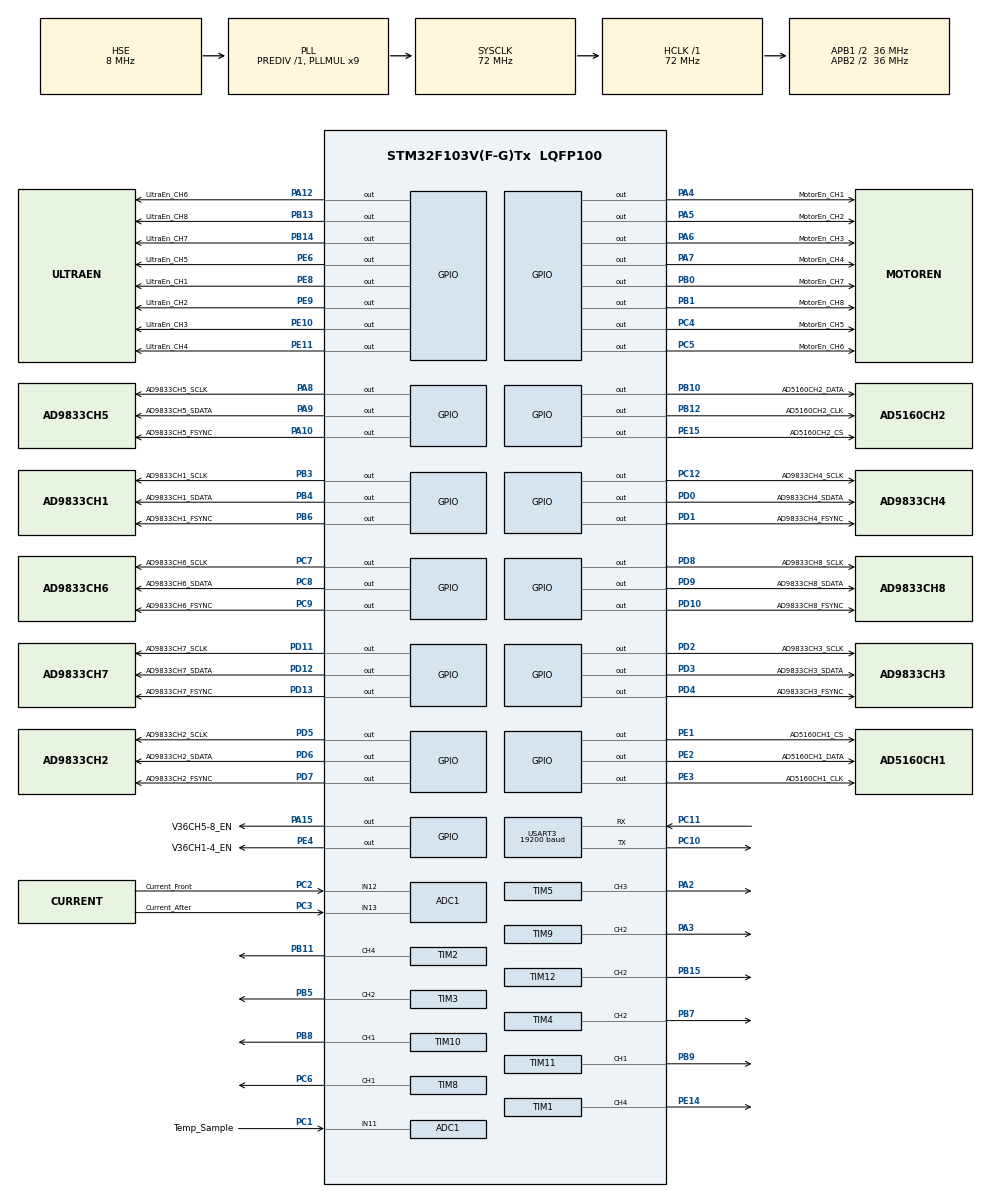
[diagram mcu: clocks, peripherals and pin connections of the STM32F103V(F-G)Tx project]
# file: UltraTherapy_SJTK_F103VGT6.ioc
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ADC1.Channel-0\#ChannelRegularConversion=ADC_CHANNEL_11
ADC1.Channel-1\#ChannelRegularConversion=ADC_CHANNEL_12
ADC1.Channel-2\#ChannelRegularConversion=ADC_CHANNEL_13
ADC1.Channel-3\#ChannelRegularConversion=ADC_CHANNEL_TEMPSENSOR
ADC1.Channel-4\#ChannelRegularConversion=ADC_CHANNEL_VREFINT
ADC1.ContinuousConvMode=ENABLE
ADC1.EnableInjectedConversion=DISABLE
ADC1.NbrOfConversion=5
ADC1.NbrOfConversionFlag=1
ADC1.Rank-0\#ChannelRegularConversion=1
ADC1.Rank-1\#ChannelRegularConversion=2
ADC1.Rank-2\#ChannelRegularConversion=3
ADC1.Rank-3\#ChannelRegularConversion=4
ADC1.Rank-4\#ChannelRegularConversion=5
ADC1.SamplingTime-0\#ChannelRegularConversion=ADC_SAMPLETIME_239CYCLES_5
ADC1.SamplingTime-1\#ChannelRegularConversion=ADC_SAMPLETIME_239CYCLES_5
ADC1.SamplingTime-2\#ChannelRegularConversion=ADC_SAMPLETIME_239CYCLES_5
ADC1.SamplingTime-3\#ChannelRegularConversion=ADC_SAMPLETIME_71CYCLES_5
ADC1.SamplingTime-4\#ChannelRegularConversion=ADC_SAMPLETIME_239CYCLES_5
ADC1.master=1
Dma.ADC1.2.Direction=DMA_PERIPH_TO_MEMORY
Dma.ADC1.2.Instance=DMA1_Channel1
Dma.ADC1.2.MemDataAlignment=DMA_MDATAALIGN_HALFWORD
Dma.ADC1.2.MemInc=DMA_MINC_ENABLE
Dma.ADC1.2.Mode=DMA_CIRCULAR
Dma.ADC1.2.PeriphDataAlignment=DMA_PDATAALIGN_HALFWORD
Dma.ADC1.2.PeriphInc=DMA_PINC_DISABLE
Dma.ADC1.2.Priority=DMA_PRIORITY_HIGH
Dma.Request0=USART3_RX
Dma.Request1=USART3_TX
Dma.Request2=ADC1
Dma.USART3_RX.0.Direction=DMA_PERIPH_TO_MEMORY
Dma.USART3_RX.0.Instance=DMA1_Channel3
Dma.USART3_RX.0.MemDataAlignment=DMA_MDATAALIGN_BYTE
Dma.USART3_RX.0.MemInc=DMA_MINC_ENABLE
Dma.USART3_RX.0.Mode=DMA_NORMAL
Dma.USART3_RX.0.PeriphDataAlignment=DMA_PDATAALIGN_BYTE
Dma.USART3_RX.0.PeriphInc=DMA_PINC_DISABLE
Dma.USART3_RX.0.Priority=DMA_PRIORITY_LOW
Dma.USART3_TX.1.Direction=DMA_MEMORY_TO_PERIPH
Dma.USART3_TX.1.Instance=DMA1_Channel2
Dma.USART3_TX.1.MemDataAlignment=DMA_MDATAALIGN_BYTE
Dma.USART3_TX.1.MemInc=DMA_MINC_ENABLE
Dma.USART3_TX.1.Mode=DMA_NORMAL
Dma.USART3_TX.1.PeriphDataAlignment=DMA_PDATAALIGN_BYTE
Dma.USART3_TX.1.PeriphInc=DMA_PINC_DISABLE
Dma.USART3_TX.1.Priority=DMA_PRIORITY_LOW
Mcu.Family=STM32F1
Mcu.Name=STM32F103V(F-G)Tx
Mcu.Package=LQFP100
NVIC.DMA1_Channel1_IRQn=true\:0\:0\:false\:false\:true\:false\:true\:true
NVIC.DMA1_Channel2_IRQn=true\:0\:0\:false\:false\:true\:false\:true\:true
NVIC.DMA1_Channel3_IRQn=true\:0\:0\:false\:false\:true\:false\:true\:true
NVIC.PriorityGroup=NVIC_PRIORITYGROUP_4
NVIC.TIM6_IRQn=true\:0\:0\:false\:false\:true\:true\:true\:true
NVIC.USART3_IRQn=true\:0\:0\:false\:false\:true\:true\:true\:true
OSC_IN.Mode=HSE-External-Oscillator
OSC_IN.Signal=RCC_OSC_IN
OSC_OUT.Mode=HSE-External-Oscillator
OSC_OUT.Signal=RCC_OSC_OUT
PA10.GPIO_Label=AD9833CH5_FSYNC
PA10.GPIO_Speed=GPIO_SPEED_FREQ_HIGH
PA10.Signal=GPIO_Output
PA12.GPIO_Label=UltraEn_CH6
PA12.Signal=GPIO_Output
PA13.Mode=Serial_Wire
PA13.Signal=SYS_JTMS-SWDIO
PA14.Mode=Serial_Wire
PA14.Signal=SYS_JTCK-SWCLK
PA15.GPIO_Label=V36CH5-8_EN
PA15.Signal=GPIO_Output
PA2.Signal=S_TIM5_CH3
PA3.Signal=S_TIM9_CH2
PA4.GPIO_Label=MotorEn_CH1
PA4.Signal=GPIO_Output
PA5.GPIO_Label=MotorEn_CH2
PA5.Signal=GPIO_Output
PA6.GPIO_Label=MotorEn_CH3
PA6.Signal=GPIO_Output
PA7.GPIO_Label=MotorEn_CH4
PA7.Signal=GPIO_Output
PA8.GPIO_Label=AD9833CH5_SCLK
PA8.GPIO_Speed=GPIO_SPEED_FREQ_HIGH
PA8.Signal=GPIO_Output
PA9.GPIO_Label=AD9833CH5_SDATA
PA9.GPIO_Speed=GPIO_SPEED_FREQ_HIGH
PA9.Signal=GPIO_Output
PB0.GPIO_Label=MotorEn_CH7
PB0.Signal=GPIO_Output
PB1.GPIO_Label=MotorEn_CH8
PB1.Signal=GPIO_Output
PB10.GPIO_Label=AD5160CH2_DATA
PB10.GPIO_ModeDefaultOutputPP=GPIO_MODE_OUTPUT_OD
PB10.GPIO_PuPd=GPIO_NOPULL
PB10.GPIO_Speed=GPIO_SPEED_FREQ_HIGH
PB10.Signal=GPIO_Output
PB11.Signal=S_TIM2_CH4
PB12.GPIO_Label=AD5160CH2_CLK
PB12.GPIO_ModeDefaultOutputPP=GPIO_MODE_OUTPUT_OD
PB12.GPIO_PuPd=GPIO_NOPULL
PB12.GPIO_Speed=GPIO_SPEED_FREQ_HIGH
PB12.Signal=GPIO_Output
PB13.GPIO_Label=UltraEn_CH8
PB13.Signal=GPIO_Output
PB14.GPIO_Label=UltraEn_CH7
PB14.Signal=GPIO_Output
PB15.Signal=S_TIM12_CH2
PB3.GPIO_Label=AD9833CH1_SCLK
PB3.GPIO_Speed=GPIO_SPEED_FREQ_HIGH
PB3.Signal=GPIO_Output
PB4.GPIO_Label=AD9833CH1_SDATA
PB4.GPIO_Speed=GPIO_SPEED_FREQ_HIGH
PB4.Signal=GPIO_Output
PB5.Signal=S_TIM3_CH2
PB6.GPIO_Label=AD9833CH1_FSYNC
PB6.GPIO_Speed=GPIO_SPEED_FREQ_HIGH
PB6.Signal=GPIO_Output
PB7.Signal=S_TIM4_CH2
PB8.Signal=S_TIM10_CH1
PB9.Signal=S_TIM11_CH1
PC1.GPIO_Label=Temp_Sample
PC1.Signal=ADCx_IN11
PC10.Mode=Asynchronous
PC10.Signal=USART3_TX
PC11.Mode=Asynchronous
PC11.Signal=USART3_RX
PC12.GPIO_Label=AD9833CH4_SCLK
PC12.GPIO_Speed=GPIO_SPEED_FREQ_HIGH
PC12.Signal=GPIO_Output
PC2.GPIO_Label=Current_Front
PC2.Signal=ADCx_IN12
PC3.GPIO_Label=Current_After
PC3.Signal=ADCx_IN13
PC4.GPIO_Label=MotorEn_CH5
PC4.Signal=GPIO_Output
PC5.GPIO_Label=MotorEn_CH6
PC5.Signal=GPIO_Output
PC6.Signal=S_TIM8_CH1
PC7.GPIO_Label=AD9833CH6_SCLK
PC7.GPIO_Speed=GPIO_SPEED_FREQ_HIGH
PC7.Signal=GPIO_Output
PC8.GPIO_Label=AD9833CH6_SDATA
PC8.GPIO_Speed=GPIO_SPEED_FREQ_HIGH
PC8.Signal=GPIO_Output
PC9.GPIO_Label=AD9833CH6_FSYNC
PC9.GPIO_Speed=GPIO_SPEED_FREQ_HIGH
PC9.Signal=GPIO_Output
PD0.GPIO_Label=AD9833CH4_SDATA
PD0.GPIO_Speed=GPIO_SPEED_FREQ_HIGH
PD0.Signal=GPIO_Output
PD1.GPIO_Label=AD9833CH4_FSYNC
PD1.GPIO_Speed=GPIO_SPEED_FREQ_HIGH
PD1.Signal=GPIO_Output
PD10.GPIO_Label=AD9833CH8_FSYNC
PD10.GPIO_Speed=GPIO_SPEED_FREQ_HIGH
PD10.Signal=GPIO_Output
PD11.GPIO_Label=AD9833CH7_SCLK
PD11.GPIO_Speed=GPIO_SPEED_FREQ_HIGH
PD11.Signal=GPIO_Output
PD12.GPIO_Label=AD9833CH7_SDATA
PD12.GPIO_Speed=GPIO_SPEED_FREQ_HIGH
PD12.Signal=GPIO_Output
PD13.GPIO_Label=AD9833CH7_FSYNC
PD13.GPIO_Speed=GPIO_SPEED_FREQ_HIGH
PD13.Signal=GPIO_Output
PD2.GPIO_Label=AD9833CH3_SCLK
PD2.GPIO_Speed=GPIO_SPEED_FREQ_HIGH
PD2.Signal=GPIO_Output
PD3.GPIO_Label=AD9833CH3_SDATA
PD3.GPIO_Speed=GPIO_SPEED_FREQ_HIGH
PD3.Signal=GPIO_Output
PD4.GPIO_Label=AD9833CH3_FSYNC
PD4.GPIO_Speed=GPIO_SPEED_FREQ_HIGH
PD4.Signal=GPIO_Output
PD5.GPIO_Label=AD9833CH2_SCLK
PD5.GPIO_Speed=GPIO_SPEED_FREQ_HIGH
PD5.Signal=GPIO_Output
PD6.GPIO_Label=AD9833CH2_SDATA
PD6.GPIO_Speed=GPIO_SPEED_FREQ_HIGH
PD6.Signal=GPIO_Output
PD7.GPIO_Label=AD9833CH2_FSYNC
PD7.GPIO_Speed=GPIO_SPEED_FREQ_HIGH
PD7.Signal=GPIO_Output
PD8.GPIO_Label=AD9833CH8_SCLK
PD8.GPIO_Speed=GPIO_SPEED_FREQ_HIGH
PD8.Signal=GPIO_Output
PD9.GPIO_Label=AD9833CH8_SDATA
PD9.GPIO_Speed=GPIO_SPEED_FREQ_HIGH
PD9.Signal=GPIO_Output
PE1.GPIO_Label=AD5160CH1_CS
PE1.GPIO_Speed=GPIO_SPEED_FREQ_HIGH
PE1.Signal=GPIO_Output
PE10.GPIO_Label=UltraEn_CH3
PE10.Signal=GPIO_Output
PE11.GPIO_Label=UltraEn_CH4
PE11.Signal=GPIO_Output
PE14.Signal=S_TIM1_CH4
PE15.GPIO_Label=AD5160CH2_CS
PE15.GPIO_ModeDefaultOutputPP=GPIO_MODE_OUTPUT_PP
PE15.GPIO_PuPd=GPIO_NOPULL
PE15.GPIO_Speed=GPIO_SPEED_FREQ_HIGH
PE15.Signal=GPIO_Output
PE2.GPIO_Label=AD5160CH1_DATA
PE2.GPIO_ModeDefaultOutputPP=GPIO_MODE_OUTPUT_OD
PE2.GPIO_PuPd=GPIO_NOPULL
PE2.GPIO_Speed=GPIO_SPEED_FREQ_HIGH
PE2.Signal=GPIO_Output
PE3.GPIO_Label=AD5160CH1_CLK
PE3.GPIO_ModeDefaultOutputPP=GPIO_MODE_OUTPUT_OD
PE3.GPIO_PuPd=GPIO_NOPULL
PE3.GPIO_Speed=GPIO_SPEED_FREQ_HIGH
PE3.Signal=GPIO_Output
PE4.GPIO_Label=V36CH1-4_EN
PE4.Signal=GPIO_Output
PE6.GPIO_Label=UltraEn_CH5
PE6.Signal=GPIO_Output
PE8.GPIO_Label=UltraEn_CH1
PE8.Signal=GPIO_Output
PE9.GPIO_Label=UltraEn_CH2
PE9.Signal=GPIO_Output
ProjectManager.HeapSize=0x200
ProjectManager.StackSize=0x400
ProjectManager.TargetToolchain=STM32CubeIDE
RCC.ADCPresc=RCC_ADCPCLK2_DIV4
RCC.AHBFreq_Value=72000000
RCC.APB1CLKDivider=RCC_HCLK_DIV2
RCC.APB1Freq_Value=36000000
RCC.APB1TimFreq_Value=72000000
RCC.APB2CLKDivider=RCC_HCLK_DIV2
RCC.APB2Freq_Value=36000000
RCC.APB2TimFreq_Value=72000000
RCC.HCLKFreq_Value=72000000
RCC.PLLMUL=RCC_PLL_MUL9
RCC.PLLSourceVirtual=RCC_PLLSOURCE_HSE
RCC.SYSCLKFreq_VALUE=72000000
RCC.SYSCLKSource=RCC_SYSCLKSOURCE_PLLCLK
RCC.USBFreq_Value=72000000
SH.ADCx_IN11.0=ADC1_IN11,IN11
SH.ADCx_IN12.0=ADC1_IN12,IN12
SH.ADCx_IN13.0=ADC1_IN13,IN13
SH.S_TIM10_CH1.0=TIM10_CH1,PWM Generation1 CH1
SH.S_TIM11_CH1.0=TIM11_CH1,PWM Generation1 CH1
SH.S_TIM12_CH2.0=TIM12_CH2,PWM Generation2 CH2
SH.S_TIM1_CH4.0=TIM1_CH4,PWM Generation4 CH4
SH.S_TIM2_CH4.0=TIM2_CH4,PWM Generation4 CH4
SH.S_TIM3_CH2.0=TIM3_CH2,PWM Generation2 CH2
SH.S_TIM4_CH2.0=TIM4_CH2,PWM Generation2 CH2
SH.S_TIM5_CH3.0=TIM5_CH3,PWM Generation3 CH3
SH.S_TIM8_CH1.0=TIM8_CH1,PWM Generation1 CH1
SH.S_TIM9_CH2.0=TIM9_CH2,PWM Generation2 CH2
TIM1.Channel-PWM\ Generation4\ CH4=TIM_CHANNEL_4
TIM1.Period=10000
TIM1.Prescaler=72-1
TIM10.Channel=TIM_CHANNEL_1
TIM10.Period=10000
TIM10.Prescaler=72-1
TIM11.Channel=TIM_CHANNEL_1
TIM11.Period=10000
TIM11.Prescaler=72-1
TIM12.Channel-PWM\ Generation2\ CH2=TIM_CHANNEL_2
TIM12.Period=10000
TIM12.Prescaler=72-1
TIM2.Channel-PWM\ Generation4\ CH4=TIM_CHANNEL_4
TIM2.Period=10000
TIM2.Prescaler=72-1
TIM3.Channel-PWM\ Generation2\ CH2=TIM_CHANNEL_2
TIM3.Period=10000
TIM3.Prescaler=72-1
TIM4.Channel-PWM\ Generation2\ CH2=TIM_CHANNEL_2
TIM4.Period=10000
TIM4.Prescaler=72-1
TIM5.Channel-PWM\ Generation3\ CH3=TIM_CHANNEL_3
TIM5.Period=10000
TIM5.Prescaler=72-1
TIM6.Period=100-1
TIM6.Prescaler=72-1
TIM8.Channel-PWM\ Generation1\ CH1=TIM_CHANNEL_1
TIM8.Period=10000
TIM8.Prescaler=72-1
TIM9.Channel-PWM\ Generation2\ CH2=TIM_CHANNEL_2
TIM9.Period=4255
TIM9.Prescaler=72-1
USART3.BaudRate=19200
USART3.VirtualMode=VM_ASYNC
VP_ADC1_TempSens_Input.Mode=IN-TempSens
VP_ADC1_Vref_Input.Mode=IN-Vrefint
VP_TIM10_VS_ClockSourceINT.Mode=Enable_Timer
VP_TIM11_VS_ClockSourceINT.Mode=Enable_Timer
VP_TIM12_VS_ClockSourceINT.Mode=Internal
VP_TIM1_VS_ClockSourceINT.Mode=Internal
VP_TIM2_VS_ClockSourceINT.Mode=Internal
VP_TIM3_VS_ClockSourceINT.Mode=Internal
VP_TIM4_VS_ClockSourceINT.Mode=Internal
VP_TIM5_VS_ClockSourceINT.Mode=Internal
VP_TIM6_VS_ClockSourceINT.Mode=Enable_Timer
VP_TIM8_VS_ClockSourceINT.Mode=Internal
VP_TIM9_VS_ClockSourceINT.Mode=Internal
board=custom

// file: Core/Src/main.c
/* USER CODE BEGIN Header */
/**
  ******************************************************************************
  * @file           : main.c
  * @brief          : Main program body
  ******************************************************************************
  * @attention
  *
  * Copyright (c) 2025 STMicroelectronics.
  * All rights reserved.
  *
  * This software is licensed under terms that can be found in the LICENSE file
  * in the root directory of this software component.
  * If no LICENSE file comes with this software, it is provided AS-IS.
  *
  ******************************************************************************
  */
/* USER CODE END Header */
#include "main.h"
#include "adc.h"
#include "dma.h"
#include "tim.h"
#include "usart.h"
#include "gpio.h"

/* USER CODE BEGIN Includes */
#include "App.h"
/* USER CODE END Includes */

/* USER CODE BEGIN PV */
uint32_t TaskCount = 0;
/* USER CODE END PV */

void SystemClock_Config(void);

int main(void)
{

  /* MCU Configuration--------------------------------------------------------*/

  /* Reset of all peripherals, Initializes the Flash interface and the Systick. */
  HAL_Init();

  /* Configure the system clock */
  SystemClock_Config();

  /* Initialize all configured peripherals */
  MX_GPIO_Init();
  MX_DMA_Init();
  MX_ADC1_Init();
  MX_USART3_UART_Init();
  MX_TIM1_Init();
  MX_TIM2_Init();
  MX_TIM3_Init();
  MX_TIM4_Init();
  MX_TIM8_Init();
  MX_TIM9_Init();
  MX_TIM10_Init();
  MX_TIM11_Init();
  MX_TIM12_Init();
  MX_TIM5_Init();
  MX_TIM6_Init();
  /* USER CODE BEGIN 2 */
  DevSystem_Init();
  HAL_TIM_Base_Start_IT(&htim6);
  HAL_Delay(10);
  /* USER CODE END 2 */

  /* Infinite loop */
  while (1)
  {

    /* USER CODE BEGIN 3 */
	  if(TaskCount > 100)
	  {
		  DevAD5160Func_Main();
		  DevAD9833Set_Main();
		  DevADC1Func_Main();
		  DevFlashWrite_Main();
		  DevPwmFunc_Main();
	  }
	  AppMainFunc();
  }
  /* USER CODE END 3 */
}

void SystemClock_Config(void)
{
  RCC_OscInitTypeDef RCC_OscInitStruct = {0};
  RCC_ClkInitTypeDef RCC_ClkInitStruct = {0};
  RCC_PeriphCLKInitTypeDef PeriphClkInit = {0};

  /** Initializes the RCC Oscillators according to the specified parameters
  * in the RCC_OscInitTypeDef structure.
  */
  RCC_OscInitStruct.OscillatorType = RCC_OSCILLATORTYPE_HSE;
  RCC_OscInitStruct.HSEState = RCC_HSE_ON;
  RCC_OscInitStruct.HSEPredivValue = RCC_HSE_PREDIV_DIV1;
  RCC_OscInitStruct.HSIState = RCC_HSI_ON;
  RCC_OscInitStruct.PLL.PLLState = RCC_PLL_ON;
  RCC_OscInitStruct.PLL.PLLSource = RCC_PLLSOURCE_HSE;
  RCC_OscInitStruct.PLL.PLLMUL = RCC_PLL_MUL9;
  if (HAL_RCC_OscConfig(&RCC_OscInitStruct) != HAL_OK)
  {
    Error_Handler();
  }

  /** Initializes the CPU, AHB and APB buses clocks
  */
  RCC_ClkInitStruct.ClockType = RCC_CLOCKTYPE_HCLK|RCC_CLOCKTYPE_SYSCLK
                              |RCC_CLOCKTYPE_PCLK1|RCC_CLOCKTYPE_PCLK2;
  RCC_ClkInitStruct.SYSCLKSource = RCC_SYSCLKSOURCE_PLLCLK;
  RCC_ClkInitStruct.AHBCLKDivider = RCC_SYSCLK_DIV1;
  RCC_ClkInitStruct.APB1CLKDivider = RCC_HCLK_DIV2;
  RCC_ClkInitStruct.APB2CLKDivider = RCC_HCLK_DIV2;

  if (HAL_RCC_ClockConfig(&RCC_ClkInitStruct, FLASH_LATENCY_2) != HAL_OK)
  {
    Error_Handler();
  }
  PeriphClkInit.PeriphClockSelection = RCC_PERIPHCLK_ADC;
  PeriphClkInit.AdcClockSelection = RCC_ADCPCLK2_DIV4;
  if (HAL_RCCEx_PeriphCLKConfig(&PeriphClkInit) != HAL_OK)
  {
    Error_Handler();
  }
}

/* USER CODE BEGIN 4 */
void HAL_TIM_PeriodElapsedCallback(TIM_HandleTypeDef *htim)
{
  /* USER CODE BEGIN Callback 0 */

  /* USER CODE END Callback 0 */

  /* USER CODE BEGIN Callback 1 */
	//100us
	if(htim->Instance == TIM6)
	{
		UltraWorkTime++;
		TaskCount++;
	}
  /* USER CODE END Callback 1 */
}
/* USER CODE END 4 */

void Error_Handler(void)
{
  __disable_irq();
  while (1)
  {
  }
}
